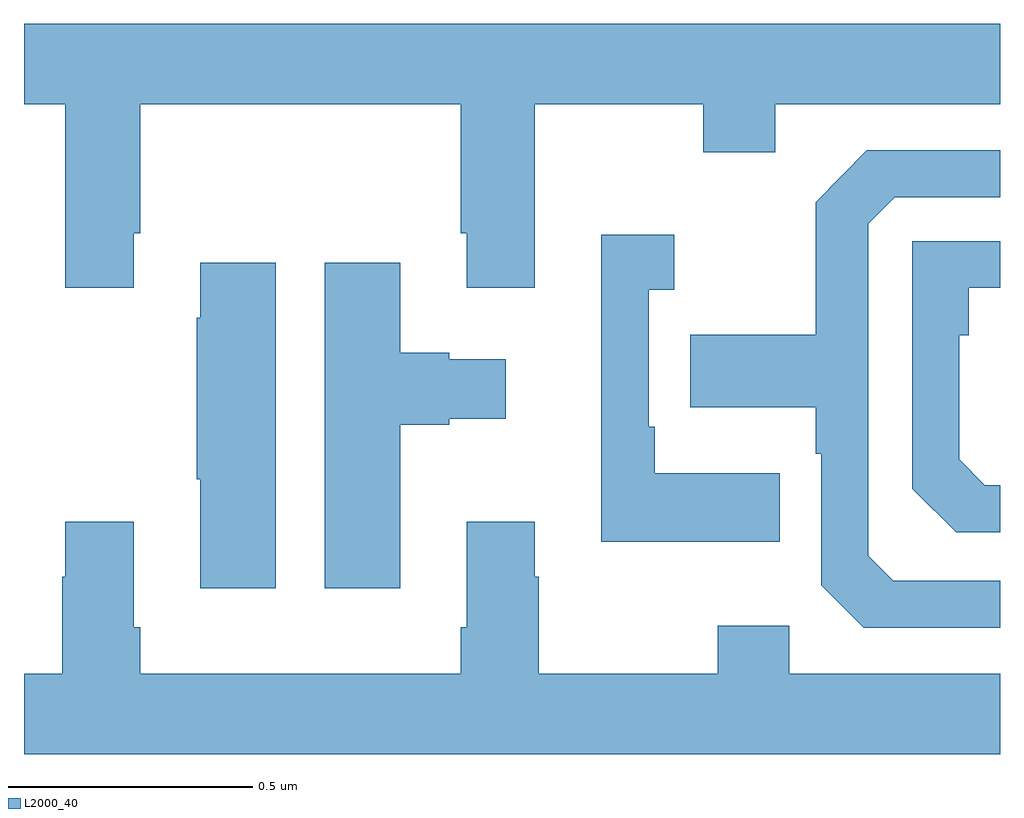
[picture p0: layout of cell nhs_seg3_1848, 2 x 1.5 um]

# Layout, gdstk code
import gdstk
lib = gdstk.Library(unit=1e-6, precision=1e-09)
def P(c, l, *ps):  # polygons
    for p in ps: c.add(gdstk.Polygon(p, *l))
L2000_40 = (2000, 40)

nhs_seg3_1848 = lib.new_cell('nhs_seg3_1848')
P(nhs_seg3_1848, L2000_40, [(133.225,745.939),(133.238,745.939),(133.238,746.204),(133.895,746.204),(133.895,745.939),(133.907,745.939),(133.907,745.827),(134.047,745.827),(134.047,746.204),(134.392,746.204),(134.392,746.105),(134.539,746.105),(134.539,746.204),(135,746.204),(135,746.368),(133,746.368),(133,746.204),(133.085,746.204),(133.085,745.827),(133.225,745.827)],
  [(135,745.227),(134.781,745.227),(134.73,745.278),(134.73,745.959),(134.784,746.013),(135,746.013),(135,746.109),(134.727,746.109),(134.622,746.003),(134.622,745.731),(134.365,745.731),(134.365,745.583),(134.622,745.583),(134.622,745.487),(134.634,745.487),(134.634,745.218),(134.721,745.131),(135,745.131)],
  [(134.549,745.447),(134.293,745.447),(134.293,745.543),(134.28,745.543),(134.28,745.823),(134.332,745.823),(134.332,745.936),(134.183,745.936),(134.183,745.307),(134.549,745.307)],
  [(135,745.423),(134.969,745.423),(134.916,745.476),(134.916,745.73),(134.936,745.73),(134.936,745.827),(135,745.827),(135,745.923),(134.82,745.923),(134.82,745.416),(134.91,745.326),(135,745.326)],
  [(133.516,745.879),(133.361,745.879),(133.361,745.766),(133.354,745.766),(133.354,745.435),(133.361,745.435),(133.361,745.212),(133.516,745.212)],
  [(133.771,745.547),(133.871,745.547),(133.871,745.559),(133.987,745.559),(133.987,745.681),(133.871,745.681),(133.871,745.694),(133.771,745.694),(133.771,745.879),(133.616,745.879),(133.616,745.212),(133.771,745.212)],
  [(135,745.036),(134.568,745.036),(134.568,745.135),(134.422,745.135),(134.422,745.036),(134.055,745.036),(134.055,745.235),(134.047,745.235),(134.047,745.348),(133.907,745.348),(133.907,745.132),(133.895,745.132),(133.895,745.036),(133.238,745.036),(133.238,745.132),(133.225,745.132),(133.225,745.348),(133.085,745.348),(133.085,745.235),(133.078,745.235),(133.078,745.036),(133,745.036),(133,744.872),(135,744.872)])

lib.write_gds('nhs_seg3_1848.gds')
